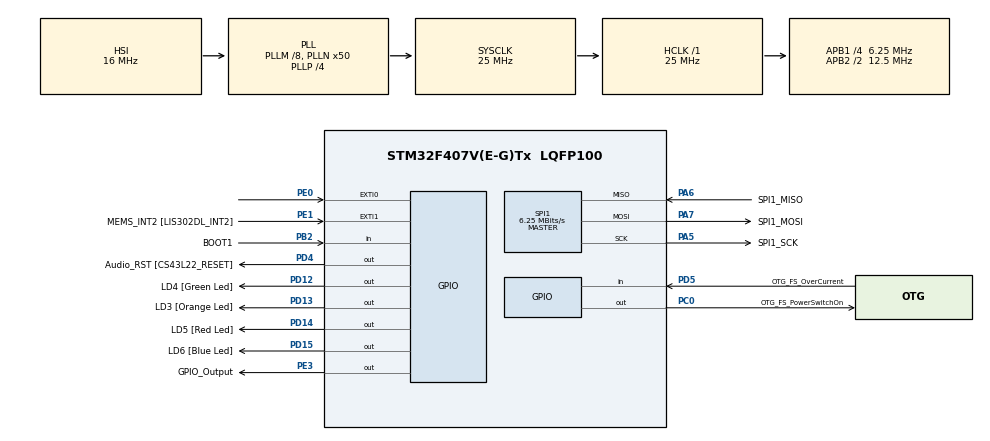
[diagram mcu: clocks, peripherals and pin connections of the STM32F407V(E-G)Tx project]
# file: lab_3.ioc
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Mcu.Family=STM32F4
Mcu.Name=STM32F407V(E-G)Tx
Mcu.Package=LQFP100
NVIC.EXTI0_IRQn=true\:7\:0\:true\:false\:true\:true\:true\:true
NVIC.PriorityGroup=NVIC_PRIORITYGROUP_4
NVIC.TIM7_IRQn=true\:0\:0\:false\:false\:true\:false\:true\:true
NVIC.TimeBase=TIM7_IRQn
NVIC.TimeBaseIP=TIM7
PA10.GPIO_Label=OTG_FS_ID
PA10.GPIO_Mode=GPIO_MODE_AF_PP
PA10.GPIO_PuPd=GPIO_NOPULL
PA10.GPIO_Speed=GPIO_SPEED_FREQ_LOW
PA10.Signal=USB_OTG_FS_ID
PA11.GPIO_Label=OTG_FS_DM
PA11.GPIO_Mode=GPIO_MODE_AF_PP
PA11.GPIO_PuPd=GPIO_NOPULL
PA11.GPIO_Speed=GPIO_SPEED_FREQ_LOW
PA11.Signal=USB_OTG_FS_DM
PA12.GPIO_Label=OTG_FS_DP
PA12.GPIO_Mode=GPIO_MODE_AF_PP
PA12.GPIO_PuPd=GPIO_NOPULL
PA12.GPIO_Speed=GPIO_SPEED_FREQ_LOW
PA12.Signal=USB_OTG_FS_DP
PA13.GPIO_Label=SWDIO
PA13.Mode=Serial_Wire
PA13.Signal=SYS_JTMS-SWDIO
PA14.GPIO_Label=SWCLK
PA14.Mode=Serial_Wire
PA14.Signal=SYS_JTCK-SWCLK
PA4.GPIO_Label=I2S3_WS [CS43L22_LRCK]
PA4.GPIO_Mode=GPIO_MODE_AF_PP
PA4.GPIO_PuPd=GPIO_NOPULL
PA4.GPIO_Speed=GPIO_SPEED_FREQ_LOW
PA4.Signal=I2S3_WS
PA5.GPIO_Label=SPI1_SCK
PA5.GPIO_Mode=GPIO_MODE_AF_PP
PA5.GPIO_PuPd=GPIO_NOPULL
PA5.GPIO_Speed=GPIO_SPEED_FREQ_LOW
PA5.Mode=Full_Duplex_Master
PA5.Signal=SPI1_SCK
PA6.GPIO_Label=SPI1_MISO
PA6.GPIO_Mode=GPIO_MODE_AF_PP
PA6.GPIO_PuPd=GPIO_NOPULL
PA6.GPIO_Speed=GPIO_SPEED_FREQ_LOW
PA6.Mode=Full_Duplex_Master
PA6.Signal=SPI1_MISO
PA7.GPIO_Label=SPI1_MOSI
PA7.GPIO_Mode=GPIO_MODE_AF_PP
PA7.GPIO_PuPd=GPIO_NOPULL
PA7.GPIO_Speed=GPIO_SPEED_FREQ_LOW
PA7.Mode=Full_Duplex_Master
PA7.Signal=SPI1_MOSI
PA9.GPIO_Label=VBUS_FS
PA9.GPIO_Mode=GPIO_MODE_INPUT
PA9.GPIO_PuPd=GPIO_NOPULL
PA9.Signal=USB_OTG_FS_VBUS
PB10.GPIO_Label=CLK_IN [MP45DT02_CLK]
PB10.GPIO_Mode=GPIO_MODE_AF_PP
PB10.GPIO_PuPd=GPIO_NOPULL
PB10.GPIO_Speed=GPIO_SPEED_FREQ_LOW
PB10.Signal=I2S2_CK
PB2.GPIO_Label=BOOT1
PB2.GPIO_Mode=GPIO_MODE_INPUT
PB2.GPIO_PuPd=GPIO_NOPULL
PB2.Signal=GPIO_Input
PB3.GPIO_Label=SWO
PB3.Signal=SYS_JTDO-SWO
PB6.GPIO_Label=Audio_SCL [CS43L22_SCL]
PB6.GPIO_Mode=GPIO_MODE_AF_OD
PB6.GPIO_PuPd=GPIO_NOPULL
PB6.GPIO_Speed=GPIO_SPEED_FREQ_LOW
PB6.Signal=I2C1_SCL
PB9.GPIO_Label=Audio_SDA [CS43L22_SDA]
PB9.GPIO_Mode=GPIO_MODE_AF_OD
PB9.GPIO_PuPd=GPIO_NOPULL
PB9.GPIO_Speed=GPIO_SPEED_FREQ_LOW
PB9.Signal=I2C1_SDA
PC0.GPIO_Label=OTG_FS_PowerSwitchOn
PC0.GPIO_PuPd=GPIO_NOPULL
PC0.GPIO_Speed=GPIO_SPEED_FREQ_LOW
PC0.PinState=GPIO_PIN_SET
PC0.Signal=GPIO_Output
PC10.GPIO_Label=I2S3_SCK [CS43L22_SCLK]
PC10.GPIO_Mode=GPIO_MODE_AF_PP
PC10.GPIO_PuPd=GPIO_NOPULL
PC10.GPIO_Speed=GPIO_SPEED_FREQ_LOW
PC10.Signal=I2S3_CK
PC12.GPIO_Label=I2S3_SD [CS43L22_SDIN]
PC12.GPIO_Mode=GPIO_MODE_AF_PP
PC12.GPIO_PuPd=GPIO_NOPULL
PC12.GPIO_Speed=GPIO_SPEED_FREQ_LOW
PC12.Signal=I2S3_SD
PC14-OSC32_IN.GPIO_Label=PC14-OSC32_IN
PC14-OSC32_IN.Signal=RCC_OSC32_IN
PC15-OSC32_OUT.GPIO_Label=PC15-OSC32_OUT
PC15-OSC32_OUT.Signal=RCC_OSC32_OUT
PC3.GPIO_Label=PDM_OUT [MP45DT02_DOUT]
PC3.GPIO_Mode=GPIO_MODE_AF_PP
PC3.GPIO_PuPd=GPIO_NOPULL
PC3.GPIO_Speed=GPIO_SPEED_FREQ_LOW
PC3.Signal=I2S2_SD
PC7.GPIO_Label=I2S3_MCK [CS43L22_MCLK]
PC7.GPIO_Mode=GPIO_MODE_AF_PP
PC7.GPIO_PuPd=GPIO_NOPULL
PC7.GPIO_Speed=GPIO_SPEED_FREQ_LOW
PC7.Signal=I2S3_MCK
PD12.GPIO_Label=LD4 [Green Led]
PD12.GPIO_PuPd=GPIO_NOPULL
PD12.GPIO_Speed=GPIO_SPEED_FREQ_LOW
PD12.Signal=GPIO_Output
PD13.GPIO_Label=LD3 [Orange Led]
PD13.GPIO_PuPd=GPIO_NOPULL
PD13.GPIO_Speed=GPIO_SPEED_FREQ_LOW
PD13.Signal=GPIO_Output
PD14.GPIO_Label=LD5 [Red Led]
PD14.GPIO_PuPd=GPIO_NOPULL
PD14.GPIO_Speed=GPIO_SPEED_FREQ_LOW
PD14.Signal=GPIO_Output
PD15.GPIO_Label=LD6 [Blue Led]
PD15.GPIO_PuPd=GPIO_NOPULL
PD15.GPIO_Speed=GPIO_SPEED_FREQ_LOW
PD15.Signal=GPIO_Output
PD4.GPIO_Label=Audio_RST [CS43L22_RESET]
PD4.GPIO_PuPd=GPIO_NOPULL
PD4.GPIO_Speed=GPIO_SPEED_FREQ_LOW
PD4.Signal=GPIO_Output
PD5.GPIO_Label=OTG_FS_OverCurrent
PD5.GPIO_Mode=GPIO_MODE_INPUT
PD5.GPIO_PuPd=GPIO_NOPULL
PD5.Signal=GPIO_Input
PE0.Signal=GPXTI0
PE1.GPIO_Label=MEMS_INT2 [LIS302DL_INT2]
PE1.GPIO_ModeDefaultEXTI=GPIO_MODE_EVT_RISING
PE1.GPIO_PuPd=GPIO_NOPULL
PE1.Signal=GPXTI1
PE3.GPIO_Label=GPIO_Output
PE3.GPIO_PuPd=GPIO_NOPULL
PE3.GPIO_Speed=GPIO_SPEED_FREQ_LOW
PE3.Signal=GPIO_Output
PH0-OSC_IN.GPIO_Label=PH0-OSC_IN
PH0-OSC_IN.Signal=RCC_OSC_IN
PH1-OSC_OUT.GPIO_Label=PH1-OSC_OUT
PH1-OSC_OUT.Signal=RCC_OSC_OUT
ProjectManager.HeapSize=0x200
ProjectManager.StackSize=0x400
ProjectManager.TargetToolchain=STM32CubeIDE
RCC.48MHZClocksFreq_Value=14285714.285714285
RCC.AHBFreq_Value=25000000
RCC.APB1CLKDivider=RCC_HCLK_DIV4
RCC.APB1Freq_Value=6250000
RCC.APB1TimFreq_Value=12500000
RCC.APB2CLKDivider=RCC_HCLK_DIV2
RCC.APB2Freq_Value=12500000
RCC.APB2TimFreq_Value=25000000
RCC.CortexFreq_Value=25000000
RCC.HCLKFreq_Value=25000000
RCC.HSE_VALUE=8000000
RCC.HSI_VALUE=16000000
RCC.LSE_VALUE=32768
RCC.PLLM=8
RCC.PLLN=50
RCC.PLLP=RCC_PLLP_DIV4
RCC.PLLQ=7
RCC.SYSCLKFreq_VALUE=25000000
RCC.SYSCLKSource=RCC_SYSCLKSOURCE_PLLCLK
RCC.VCOOutputFreq_Value=100000000
SPI1.CalculateBaudRate=6.25 MBits/s
SPI1.Direction=SPI_DIRECTION_2LINES
SPI1.Mode=SPI_MODE_MASTER
SPI1.VirtualType=VM_MASTER
VP_SYS_VS_tim7.Mode=TIM7
board=STM32F407G-DISC1

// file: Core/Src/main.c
/* USER CODE BEGIN Header */
/**
  ******************************************************************************
  * @file           : main.c
  * @brief          : Main program body
  ******************************************************************************
  * @attention
  *
  * <h2><center>&copy; Copyright (c) 2021 STMicroelectronics.
  * All rights reserved.</center></h2>
  *
  * This software component is licensed by ST under BSD 3-Clause license,
  * the "License"; You may not use this file except in compliance with the
  * License. You may obtain a copy of the License at:
  *                        opensource.org/licenses/BSD-3-Clause
  *
  ******************************************************************************
  */
/* USER CODE END Header */
#include "main.h"

/* USER CODE BEGIN Includes */
#include "FreeRTOS.h"
#include "task.h"
#include "semphr.h"
/* USER CODE END Includes */

/* USER CODE BEGIN PM */
#define LIS3DSH_WHO_AM_I_ADDR                0x0F
#define LIS3DSH_STAT_ADDR                    0x18
#define LIS3DSH_CTRL_REG4_ADDR               0x20
#define LIS3DSH_CTRL_REG1_ADDR               0x21
#define LIS3DSH_CTRL_REG2_ADDR               0x22
#define LIS3DSH_CTRL_REG3_ADDR               0x23
#define LIS3DSH_CTRL_REG5_ADDR               0x24
#define LIS3DSH_CTRL_REG6_ADDR               0x25

#define LIS3DSH_STATUS_ADDR                  0x27

#define LIS3DSH_OUT_X_L_ADDR                 0x28
#define LIS3DSH_OUT_X_H_ADDR                 0x29
#define LIS3DSH_OUT_Y_L_ADDR                 0x2A
#define LIS3DSH_OUT_Y_H_ADDR                 0x2B
#define LIS3DSH_OUT_Z_L_ADDR                 0x2C
#define LIS3DSH_OUT_Z_H_ADDR                 0x2D

#define LIS3DSH_ST1_1_ADDR                   0x40
#define LIS3DSH_ST1_2_ADDR                   0x41
#define LIS3DSH_THRS1_1_ADDR                 0x57
#define LIS3DSH_MASK1_B_ADDR                 0x59
#define LIS3DSH_MASK1_A_ADDR                 0x5A
#define LIS3DSH_SETT1_ADDR                   0x5B
#define LIS3DSH_OUTS1_ADDR                   0x5F
/* USER CODE END PM */

SPI_HandleTypeDef hspi1;

/* USER CODE BEGIN PV */
SemaphoreHandle_t xSemaphore =NULL;

/* USER CODE END PV */

void SystemClock_Config(void);
static void MX_GPIO_Init(void);
static void MX_SPI1_Init(void);

/* USER CODE BEGIN 0 */
void MEMS_Write(uint8_t address,uint8_t data){
	HAL_GPIO_WritePin(GPIOE, GPIO_PIN_3, GPIO_PIN_RESET);
	HAL_SPI_Transmit(&hspi1,&address,1,10);
	HAL_SPI_Transmit(&hspi1,&data,1,10);
	HAL_GPIO_WritePin(GPIOE, GPIO_PIN_3,GPIO_PIN_SET);
}
void MEMS_Read(uint8_t address,uint8_t *data){
    address |= 0x80;
	HAL_GPIO_WritePin(GPIOE,GPIO_PIN_3,GPIO_PIN_RESET);
	HAL_SPI_Transmit(&hspi1,&address,1,10);
	HAL_SPI_Receive(&hspi1,data,1,10);
	HAL_GPIO_WritePin(GPIOE,GPIO_PIN_3,GPIO_PIN_SET);
}
void LED_Task(void *pvParameter)
{
	for(;;){
		uint8_t data;
		MEMS_Read(LIS3DSH_WHO_AM_I_ADDR,&data);
		if(data == 0x3F){
		  HAL_GPIO_TogglePin(GPIOD, GPIO_PIN_12);
		}
		vTaskDelay(500/portTICK_RATE_MS);
	}

}

void Green_LED_Task(void *pvParameters)
{
	for(;;)
	{
		//綠燈閃爍
		HAL_GPIO_WritePin(LD4_GPIO_Port, LD4_Pin, GPIO_PIN_SET);
		vTaskDelay(pdMS_TO_TICKS(1000));
		HAL_GPIO_WritePin(LD4_GPIO_Port, LD4_Pin, GPIO_PIN_RESET);
		vTaskDelay(pdMS_TO_TICKS(1000));
	}
}

void vHandlerTask( void *pvParameters )
{

	for(;;)
	{
		/* Take the semaphore */
		// 嘗試取得 binary semaphore (來自ISR)
		if(xSemaphoreTake(xSemaphore, portMAX_DELAY) == pdTRUE)
		{
			uint8_t data = 0;
			// 橘燈閃5次 (ON/OFF 共 10 次)
			for(int i = 0; i < 10; i++)
			{
				// 切換 LED 狀態 (假設GPIO_PIN_13接LED)
				HAL_GPIO_TogglePin(LD3_GPIO_Port, LD3_Pin);

				// 延遲 250ms
				// 透過 Busy Waiting（忙碌等待）的方式維持 Handler Task 的即時響應能力，確保任務在處理 ISR 事件期間不會被調度排除
				uint32_t From_begin_time = HAL_GetTick();
				while(HAL_GetTick() - From_begin_time < pdMS_TO_TICKS(250)){}
			}

			// 讀取感測器資料，避免中斷鎖死
			MEMS_Read(LIS3DSH_OUTS1_ADDR, &data);
		}
	}
}

void HAL_GPIO_EXTI_Callback(uint16_t GPIO_Pin)
{
	/* Give the semaphore to unblock the handler task */
	BaseType_t xHigherPriorityTaskWoken;
	xHigherPriorityTaskWoken=pdFALSE;
	xSemaphoreGiveFromISR(xSemaphore, &xHigherPriorityTaskWoken);
	portYIELD_FROM_ISR(xHigherPriorityTaskWoken);

	/* 紅燈 toggle */
	HAL_GPIO_TogglePin(LD5_GPIO_Port, LD5_Pin);
}

/* USER CODE END 0 */

int main(void)
{

  /* MCU Configuration--------------------------------------------------------*/

  /* Reset of all peripherals, Initializes the Flash interface and the Systick. */
  HAL_Init();

  /* Configure the system clock */
  SystemClock_Config();

  /* Initialize all configured peripherals */
  MX_GPIO_Init();
  MX_SPI1_Init();
  /* USER CODE BEGIN 2 */

  xTaskCreate(Green_LED_Task, "LED_Task", 1000, NULL, 1, NULL);
  xTaskCreate(vHandlerTask, "vHandlerTask", 1000, NULL, 3, NULL);

  MEMS_Write(LIS3DSH_CTRL_REG1_ADDR,0x01);
  MEMS_Write(LIS3DSH_CTRL_REG3_ADDR,0x48);
  MEMS_Write(LIS3DSH_CTRL_REG4_ADDR,0x67);
  MEMS_Write(LIS3DSH_CTRL_REG5_ADDR,0x00);
  MEMS_Write(LIS3DSH_THRS1_1_ADDR,0x55);
  MEMS_Write(LIS3DSH_ST1_1_ADDR,0x05);
  MEMS_Write(LIS3DSH_ST1_2_ADDR,0x11);
  MEMS_Write(LIS3DSH_MASK1_B_ADDR,0xFC);
  MEMS_Write(LIS3DSH_MASK1_A_ADDR,0xFC);
  MEMS_Write(LIS3DSH_SETT1_ADDR,0x01);

  xSemaphore = xSemaphoreCreateBinary();

  xTaskCreate(
  		  LED_Task,
  		  "LED_Task",
  		  128,
  		  NULL,
  		  1,
  		  NULL);
  vTaskStartScheduler();
  /* USER CODE END 2 */

  /* Infinite loop */
  while (1)
  {

  }
}

void SystemClock_Config(void)
{
  RCC_OscInitTypeDef RCC_OscInitStruct = {0};
  RCC_ClkInitTypeDef RCC_ClkInitStruct = {0};

  /** Configure the main internal regulator output voltage
  */
  __HAL_RCC_PWR_CLK_ENABLE();
  __HAL_PWR_VOLTAGESCALING_CONFIG(PWR_REGULATOR_VOLTAGE_SCALE1);

  /** Initializes the RCC Oscillators according to the specified parameters
  * in the RCC_OscInitTypeDef structure.
  */
  RCC_OscInitStruct.OscillatorType = RCC_OSCILLATORTYPE_HSI;
  RCC_OscInitStruct.HSIState = RCC_HSI_ON;
  RCC_OscInitStruct.HSICalibrationValue = RCC_HSICALIBRATION_DEFAULT;
  RCC_OscInitStruct.PLL.PLLState = RCC_PLL_ON;
  RCC_OscInitStruct.PLL.PLLSource = RCC_PLLSOURCE_HSI;
  RCC_OscInitStruct.PLL.PLLM = 8;
  RCC_OscInitStruct.PLL.PLLN = 50;
  RCC_OscInitStruct.PLL.PLLP = RCC_PLLP_DIV4;
  RCC_OscInitStruct.PLL.PLLQ = 7;
  if (HAL_RCC_OscConfig(&RCC_OscInitStruct) != HAL_OK)
  {
    Error_Handler();
  }

  /** Initializes the CPU, AHB and APB buses clocks
  */
  RCC_ClkInitStruct.ClockType = RCC_CLOCKTYPE_HCLK|RCC_CLOCKTYPE_SYSCLK
                              |RCC_CLOCKTYPE_PCLK1|RCC_CLOCKTYPE_PCLK2;
  RCC_ClkInitStruct.SYSCLKSource = RCC_SYSCLKSOURCE_PLLCLK;
  RCC_ClkInitStruct.AHBCLKDivider = RCC_SYSCLK_DIV1;
  RCC_ClkInitStruct.APB1CLKDivider = RCC_HCLK_DIV4;
  RCC_ClkInitStruct.APB2CLKDivider = RCC_HCLK_DIV2;

  if (HAL_RCC_ClockConfig(&RCC_ClkInitStruct, FLASH_LATENCY_0) != HAL_OK)
  {
    Error_Handler();
  }
}

static void MX_SPI1_Init(void)
{

  /* SPI1 parameter configuration*/
  hspi1.Instance = SPI1;
  hspi1.Init.Mode = SPI_MODE_MASTER;
  hspi1.Init.Direction = SPI_DIRECTION_2LINES;
  hspi1.Init.DataSize = SPI_DATASIZE_8BIT;
  hspi1.Init.CLKPolarity = SPI_POLARITY_LOW;
  hspi1.Init.CLKPhase = SPI_PHASE_1EDGE;
  hspi1.Init.NSS = SPI_NSS_SOFT;
  hspi1.Init.BaudRatePrescaler = SPI_BAUDRATEPRESCALER_2;
  hspi1.Init.FirstBit = SPI_FIRSTBIT_MSB;
  hspi1.Init.TIMode = SPI_TIMODE_DISABLE;
  hspi1.Init.CRCCalculation = SPI_CRCCALCULATION_DISABLE;
  hspi1.Init.CRCPolynomial = 10;
  if (HAL_SPI_Init(&hspi1) != HAL_OK)
  {
    Error_Handler();
  }

}

static void MX_GPIO_Init(void)
{
  GPIO_InitTypeDef GPIO_InitStruct = {0};

  /* GPIO Ports Clock Enable */
  __HAL_RCC_GPIOE_CLK_ENABLE();
  __HAL_RCC_GPIOC_CLK_ENABLE();
  __HAL_RCC_GPIOH_CLK_ENABLE();
  __HAL_RCC_GPIOA_CLK_ENABLE();
  __HAL_RCC_GPIOB_CLK_ENABLE();
  __HAL_RCC_GPIOD_CLK_ENABLE();

  /*Configure GPIO pin Output Level */
  HAL_GPIO_WritePin(GPIO_Output_GPIO_Port, GPIO_Output_Pin, GPIO_PIN_RESET);

  /*Configure GPIO pin Output Level */
  HAL_GPIO_WritePin(OTG_FS_PowerSwitchOn_GPIO_Port, OTG_FS_PowerSwitchOn_Pin, GPIO_PIN_SET);

  /*Configure GPIO pin Output Level */
  HAL_GPIO_WritePin(GPIOD, LD4_Pin|LD3_Pin|LD5_Pin|LD6_Pin
                          |Audio_RST_Pin, GPIO_PIN_RESET);

  /*Configure GPIO pin : GPIO_Output_Pin */
  GPIO_InitStruct.Pin = GPIO_Output_Pin;
  GPIO_InitStruct.Mode = GPIO_MODE_OUTPUT_PP;
  GPIO_InitStruct.Pull = GPIO_NOPULL;
  GPIO_InitStruct.Speed = GPIO_SPEED_FREQ_LOW;
  HAL_GPIO_Init(GPIO_Output_GPIO_Port, &GPIO_InitStruct);

  /*Configure GPIO pin : OTG_FS_PowerSwitchOn_Pin */
  GPIO_InitStruct.Pin = OTG_FS_PowerSwitchOn_Pin;
  GPIO_InitStruct.Mode = GPIO_MODE_OUTPUT_PP;
  GPIO_InitStruct.Pull = GPIO_NOPULL;
  GPIO_InitStruct.Speed = GPIO_SPEED_FREQ_LOW;
  HAL_GPIO_Init(OTG_FS_PowerSwitchOn_GPIO_Port, &GPIO_InitStruct);

  /*Configure GPIO pin : PDM_OUT_Pin */
  GPIO_InitStruct.Pin = PDM_OUT_Pin;
  GPIO_InitStruct.Mode = GPIO_MODE_AF_PP;
  GPIO_InitStruct.Pull = GPIO_NOPULL;
  GPIO_InitStruct.Speed = GPIO_SPEED_FREQ_LOW;
  GPIO_InitStruct.Alternate = GPIO_AF5_SPI2;
  HAL_GPIO_Init(PDM_OUT_GPIO_Port, &GPIO_InitStruct);

  /*Configure GPIO pin : I2S3_WS_Pin */
  GPIO_InitStruct.Pin = I2S3_WS_Pin;
  GPIO_InitStruct.Mode = GPIO_MODE_AF_PP;
  GPIO_InitStruct.Pull = GPIO_NOPULL;
  GPIO_InitStruct.Speed = GPIO_SPEED_FREQ_LOW;
  GPIO_InitStruct.Alternate = GPIO_AF6_SPI3;
  HAL_GPIO_Init(I2S3_WS_GPIO_Port, &GPIO_InitStruct);

  /*Configure GPIO pin : BOOT1_Pin */
  GPIO_InitStruct.Pin = BOOT1_Pin;
  GPIO_InitStruct.Mode = GPIO_MODE_INPUT;
  GPIO_InitStruct.Pull = GPIO_NOPULL;
  HAL_GPIO_Init(BOOT1_GPIO_Port, &GPIO_InitStruct);

  /*Configure GPIO pin : CLK_IN_Pin */
  GPIO_InitStruct.Pin = CLK_IN_Pin;
  GPIO_InitStruct.Mode = GPIO_MODE_AF_PP;
  GPIO_InitStruct.Pull = GPIO_NOPULL;
  GPIO_InitStruct.Speed = GPIO_SPEED_FREQ_LOW;
  GPIO_InitStruct.Alternate = GPIO_AF5_SPI2;
  HAL_GPIO_Init(CLK_IN_GPIO_Port, &GPIO_InitStruct);

  /*Configure GPIO pins : LD4_Pin LD3_Pin LD5_Pin LD6_Pin
                           Audio_RST_Pin */
  GPIO_InitStruct.Pin = LD4_Pin|LD3_Pin|LD5_Pin|LD6_Pin
                          |Audio_RST_Pin;
  GPIO_InitStruct.Mode = GPIO_MODE_OUTPUT_PP;
  GPIO_InitStruct.Pull = GPIO_NOPULL;
  GPIO_InitStruct.Speed = GPIO_SPEED_FREQ_LOW;
  HAL_GPIO_Init(GPIOD, &GPIO_InitStruct);

  /*Configure GPIO pins : I2S3_MCK_Pin I2S3_SCK_Pin I2S3_SD_Pin */
  GPIO_InitStruct.Pin = I2S3_MCK_Pin|I2S3_SCK_Pin|I2S3_SD_Pin;
  GPIO_InitStruct.Mode = GPIO_MODE_AF_PP;
  GPIO_InitStruct.Pull = GPIO_NOPULL;
  GPIO_InitStruct.Speed = GPIO_SPEED_FREQ_LOW;
  GPIO_InitStruct.Alternate = GPIO_AF6_SPI3;
  HAL_GPIO_Init(GPIOC, &GPIO_InitStruct);

  /*Configure GPIO pin : VBUS_FS_Pin */
  GPIO_InitStruct.Pin = VBUS_FS_Pin;
  GPIO_InitStruct.Mode = GPIO_MODE_INPUT;
  GPIO_InitStruct.Pull = GPIO_NOPULL;
  HAL_GPIO_Init(VBUS_FS_GPIO_Port, &GPIO_InitStruct);

  /*Configure GPIO pins : OTG_FS_ID_Pin OTG_FS_DM_Pin OTG_FS_DP_Pin */
  GPIO_InitStruct.Pin = OTG_FS_ID_Pin|OTG_FS_DM_Pin|OTG_FS_DP_Pin;
  GPIO_InitStruct.Mode = GPIO_MODE_AF_PP;
  GPIO_InitStruct.Pull = GPIO_NOPULL;
  GPIO_InitStruct.Speed = GPIO_SPEED_FREQ_LOW;
  GPIO_InitStruct.Alternate = GPIO_AF10_OTG_FS;
  HAL_GPIO_Init(GPIOA, &GPIO_InitStruct);

  /*Configure GPIO pin : OTG_FS_OverCurrent_Pin */
  GPIO_InitStruct.Pin = OTG_FS_OverCurrent_Pin;
  GPIO_InitStruct.Mode = GPIO_MODE_INPUT;
  GPIO_InitStruct.Pull = GPIO_NOPULL;
  HAL_GPIO_Init(OTG_FS_OverCurrent_GPIO_Port, &GPIO_InitStruct);

  /*Configure GPIO pins : Audio_SCL_Pin Audio_SDA_Pin */
  GPIO_InitStruct.Pin = Audio_SCL_Pin|Audio_SDA_Pin;
  GPIO_InitStruct.Mode = GPIO_MODE_AF_OD;
  GPIO_InitStruct.Pull = GPIO_NOPULL;
  GPIO_InitStruct.Speed = GPIO_SPEED_FREQ_LOW;
  GPIO_InitStruct.Alternate = GPIO_AF4_I2C1;
  HAL_GPIO_Init(GPIOB, &GPIO_InitStruct);

  /*Configure GPIO pin : PE0 */
  GPIO_InitStruct.Pin = GPIO_PIN_0;
  GPIO_InitStruct.Mode = GPIO_MODE_IT_RISING;
  GPIO_InitStruct.Pull = GPIO_NOPULL;
  HAL_GPIO_Init(GPIOE, &GPIO_InitStruct);

  /*Configure GPIO pin : MEMS_INT2_Pin */
  GPIO_InitStruct.Pin = MEMS_INT2_Pin;
  GPIO_InitStruct.Mode = GPIO_MODE_EVT_RISING;
  GPIO_InitStruct.Pull = GPIO_NOPULL;
  HAL_GPIO_Init(MEMS_INT2_GPIO_Port, &GPIO_InitStruct);

  /* EXTI interrupt init*/
  HAL_NVIC_SetPriority(EXTI0_IRQn, 7, 0);
  HAL_NVIC_EnableIRQ(EXTI0_IRQn);

}

void HAL_TIM_PeriodElapsedCallback(TIM_HandleTypeDef *htim)
{
  if (htim->Instance == TIM7) {
    HAL_IncTick();
  }
}

void Error_Handler(void)
{
  __disable_irq();
  while (1)
  {
  }
}
